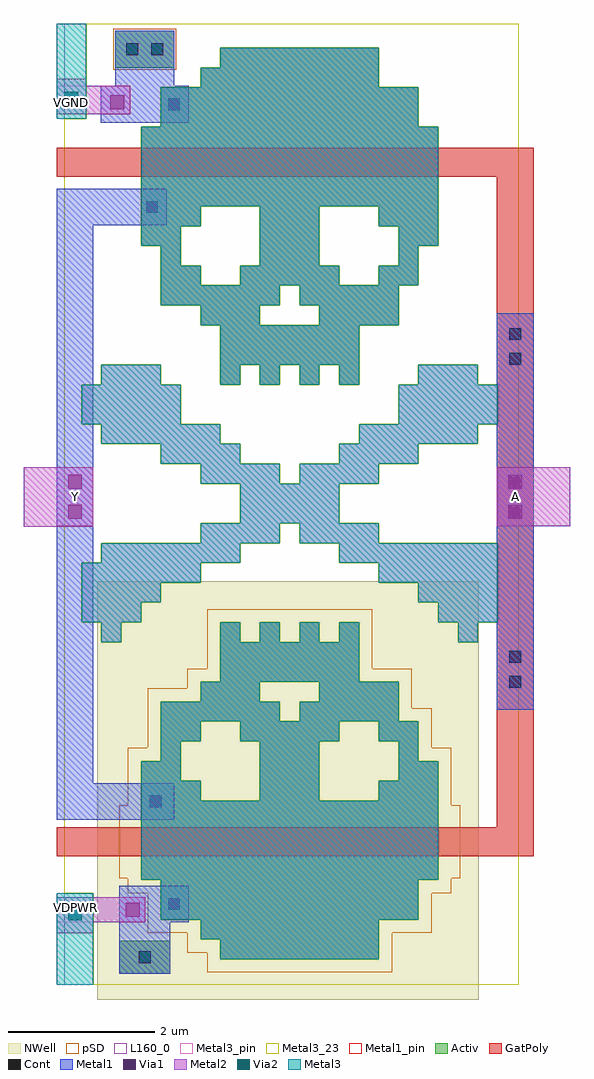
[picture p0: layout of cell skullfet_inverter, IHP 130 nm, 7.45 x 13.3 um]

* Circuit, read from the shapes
.subckt skullfet_inverter A VDPWR VGND Y
XM1 VGND A Y VGND sg13_lv_nmos w=4.05u l=0.4u
XM2 Y A VDPWR VDPWR sg13_lv_pmos w=4.05u l=0.4u
.ends

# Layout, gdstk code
import gdstk
lib = gdstk.Library(unit=1e-6, precision=1e-09)
def R(c, l, rs):  # rectangles x0, y0, x1, y1
    for r in rs: c.add(gdstk.rectangle(r[:2], r[2:], *l))
def A(c, l, x, y, w, h, nx, ny, dx, dy):  # array of equal rectangles
    R(c, l, [(x+i*dx, y+j*dy, x+i*dx+w, y+j*dy+h) for i in range(nx) for j in range(ny)])
Activ = (1, 0)
GatPoly = (5, 0)
Cont = (6, 0)
Metal1 = (8, 0)
Metal1_pin = (8, 2)
Metal2 = (10, 0)
pSD = (14, 0)
Via1 = (19, 0)
Via2 = (29, 0)
Metal3 = (30, 0)
Metal3_pin = (30, 2)
Metal3_23 = (30, 23)
NWell = (31, 0)
L160_0 = (160, 0)

skullfet_inverter = lib.new_cell('skullfet_inverter')
A(skullfet_inverter, Activ, 4.73, 5.47, 0.27, 0.27, 4, 2, 0.54, 3.51)
R(skullfet_inverter, Activ, [(3.35,0.95,4.05,1.4), (4.73,1.15,6.89,1.42), (4.46,1.42,6.89,1.69), (3.92,1.69,7.43,2.23), (3.65,2.23,7.7,3.31), (3.65,3.31,4.46,3.58), (5.27,3.31,6.08,4.12), (6.89,3.31,7.7,3.58), (3.65,3.58,4.19,3.85), (7.16,3.58,7.7,3.85), (3.92,3.85,4.19,4.12), (7.16,3.85,7.43,4.12), (3.92,4.12,4.46,4.39), (5,4.12,6.35,4.39), (6.89,4.12,7.43,4.39), (3.92,4.39,5.54,4.66), (5.81,4.39,7.16,4.66), (4.46,4.66,5.27,4.93), (6.08,4.66,7.16,4.93), (4.73,4.93,6.62,5.47), (4.73,9.25,6.62,9.79), (4.46,9.79,5.27,10.06), (6.08,9.79,7.16,10.06), (3.92,10.06,5.54,10.33), (5.81,10.06,7.16,10.33), (3.92,10.33,4.46,10.6), (5,10.33,6.35,10.6), (6.89,10.33,7.43,10.6), (3.92,10.6,4.19,10.87), (5.27,10.6,6.08,11.41), (7.16,10.6,7.43,10.87), (3.65,10.87,4.19,11.14), (7.16,10.87,7.7,11.14), (3.65,11.14,4.46,11.41), (6.89,11.14,7.7,11.41), (3.65,11.41,7.7,12.49), (3.92,12.49,7.43,13.03), (4.46,13.03,6.89,13.3), (3.3,13.3,4.1,13.8), (4.73,13.3,6.89,13.57)])
R(skullfet_inverter, GatPoly, [(2.5,2.55,9,2.95), (8.5,2.95,9,11.81), (2.5,11.81,9,12.21)])
R(skullfet_inverter, Cont, [(3.62,1.095,3.78,1.255), (4.02,1.82,4.18,1.98), (3.77,3.22,3.93,3.38), (8.67,4.85,8.83,5.01), (8.67,5.19,8.83,5.35), (8.67,9.25,8.83,9.41), (8.67,9.59,8.83,9.75), (3.72,11.32,3.88,11.48), (4.02,12.72,4.18,12.88), (3.45,13.47,3.61,13.63), (3.79,13.47,3.95,13.63)])
R(skullfet_inverter, Metal1, [(3.35,0.95,4.05,1.65), (3.35,1.65,4.3,2.15), (2.5,3.05,4.1,3.55), (2.5,3.55,3,11.15), (8.5,4.55,9,9.95), (2.5,11.15,4,11.65), (3.1,12.55,4.3,13.05), (3.3,13.05,4.1,13.8)])
R(skullfet_inverter, Metal1_pin, [(2.5,7.05,3,7.85), (8.5,7.05,9,7.85)])
A(skullfet_inverter, Metal2, 4.73, 5.47, 0.27, 0.27, 4, 2, 0.54, 3.51)
R(skullfet_inverter, Metal2, [(4.73,1.15,6.89,1.42), (4.46,1.42,6.89,1.69), (2.5,1.5,3,1.65), (2.5,1.65,3.71,1.99), (3.92,1.69,7.43,2.23), (3.65,2.23,7.7,3.31), (3.65,3.31,4.46,3.58), (5.27,3.31,6.08,4.12), (6.89,3.31,7.7,3.58), (3.65,3.58,4.19,3.85), (7.16,3.58,7.7,3.85), (3.92,3.85,4.19,4.12), (7.16,3.85,7.43,4.12), (3.92,4.12,4.46,4.39), (5,4.12,6.35,4.39), (6.89,4.12,7.43,4.39), (3.92,4.39,5.54,4.66), (5.81,4.39,7.16,4.66), (4.46,4.66,5.27,4.93), (6.08,4.66,7.16,4.93), (4.73,4.93,6.62,5.47), (3.11,5.47,3.38,5.74), (7.97,5.47,8.24,5.74), (2.84,5.74,3.65,6.01), (7.7,5.74,8.51,6.01), (2.84,6.01,3.92,6.28), (7.43,6.01,8.51,6.28), (2.84,6.28,4.46,6.55), (6.89,6.28,8.51,6.55), (3.11,6.55,5,6.82), (6.35,6.55,8.51,6.82), (4.46,6.82,5.54,7.09), (5.81,6.82,6.89,7.09), (2.05,7.045,3,7.85), (8.5,7.05,9.5,7.85), (5,7.09,6.35,7.63), (4.46,7.63,5.54,7.9), (5.81,7.63,6.89,7.9), (3.92,7.9,5,8.17), (6.35,7.9,7.43,8.17), (3.11,8.17,4.73,8.44), (6.62,8.17,8.24,8.44), (2.84,8.44,4.19,8.98), (7.16,8.44,8.51,8.98), (3.11,8.98,3.92,9.25), (7.43,8.98,8.24,9.25), (4.73,9.25,6.62,9.79), (4.46,9.79,5.27,10.06), (6.08,9.79,7.16,10.06), (3.92,10.06,5.54,10.33), (5.81,10.06,7.16,10.33), (3.92,10.33,4.46,10.6), (5,10.33,6.35,10.6), (6.89,10.33,7.43,10.6), (3.92,10.6,4.19,10.87), (5.27,10.6,6.08,11.41), (7.16,10.6,7.43,10.87), (3.65,10.87,4.19,11.14), (7.16,10.87,7.7,11.14), (3.65,11.14,4.46,11.41), (6.89,11.14,7.7,11.41), (3.65,11.41,7.7,12.49), (3.92,12.49,7.43,13.03), (2.5,12.66,3.5,13.05), (4.46,13.03,6.89,13.3), (2.5,13.05,2.9,13.15), (4.73,13.3,6.89,13.57)])
R(skullfet_inverter, pSD, [(4.55,0.97,7.07,1.24), (4.28,1.24,7.07,1.51), (3.74,1.51,7.61,2.05), (3.47,2.05,7.88,2.25), (3.35,2.25,8,3.25), (3.47,3.25,7.88,4.03), (3.74,4.03,7.61,4.57), (3.74,4.57,7.34,4.84), (4.28,4.84,7.34,5.11), (4.55,5.11,6.8,5.92), (3.27,13.27,4.13,13.83)])
R(skullfet_inverter, Via1, [(3.44,1.73,3.63,1.92), (2.655,7.15,2.845,7.34), (8.655,7.15,8.845,7.34), (2.655,7.56,2.845,7.75), (8.655,7.56,8.845,7.75), (3.23,12.73,3.42,12.92)])
R(skullfet_inverter, Via2, [(2.655,1.68,2.845,1.87), (2.605,12.78,2.795,12.97)])
A(skullfet_inverter, Metal3, 4.73, 5.47, 0.27, 0.27, 4, 2, 0.54, 3.51)
R(skullfet_inverter, Metal3, [(2.5,0.8,3,2.05), (4.73,1.15,6.89,1.42), (4.46,1.42,6.89,1.69), (3.92,1.69,7.43,2.23), (3.65,2.23,7.7,3.31), (3.65,3.31,4.46,3.58), (5.27,3.31,6.08,4.12), (6.89,3.31,7.7,3.58), (3.65,3.58,4.19,3.85), (7.16,3.58,7.7,3.85), (3.92,3.85,4.19,4.12), (7.16,3.85,7.43,4.12), (3.92,4.12,4.46,4.39), (5,4.12,6.35,4.39), (6.89,4.12,7.43,4.39), (3.92,4.39,5.54,4.66), (5.81,4.39,7.16,4.66), (4.46,4.66,5.27,4.93), (6.08,4.66,7.16,4.93), (4.73,4.93,6.62,5.47), (3.11,5.47,3.38,5.74), (7.97,5.47,8.24,5.74), (2.84,5.74,3.65,6.01), (7.7,5.74,8.51,6.01), (2.84,6.01,3.92,6.28), (7.43,6.01,8.51,6.28), (2.84,6.28,4.46,6.55), (6.89,6.28,8.51,6.55), (3.11,6.55,5,6.82), (6.35,6.55,8.51,6.82), (4.46,6.82,5.54,7.09), (5.81,6.82,6.89,7.09), (5,7.09,6.35,7.63), (4.46,7.63,5.54,7.9), (5.81,7.63,6.89,7.9), (3.92,7.9,5,8.17), (6.35,7.9,7.43,8.17), (3.11,8.17,4.73,8.44), (6.62,8.17,8.24,8.44), (2.84,8.44,4.19,8.98), (7.16,8.44,8.51,8.98), (3.11,8.98,3.92,9.25), (7.43,8.98,8.24,9.25), (4.73,9.25,6.62,9.79), (4.46,9.79,5.27,10.06), (6.08,9.79,7.16,10.06), (3.92,10.06,5.54,10.33), (5.81,10.06,7.16,10.33), (3.92,10.33,4.46,10.6), (5,10.33,6.35,10.6), (6.89,10.33,7.43,10.6), (3.92,10.6,4.19,10.87), (5.27,10.6,6.08,11.41), (7.16,10.6,7.43,10.87), (3.65,10.87,4.19,11.14), (7.16,10.87,7.7,11.14), (3.65,11.14,4.46,11.41), (6.89,11.14,7.7,11.41), (3.65,11.41,7.7,12.49), (3.92,12.49,7.43,13.03), (2.5,12.6,2.9,13.9), (4.46,13.03,6.89,13.3), (4.73,13.3,6.89,13.57)])
R(skullfet_inverter, Metal3_pin, [(2.5,1.65,3,2.05), (2.5,12.6,2.9,13.05)])
A(skullfet_inverter, Metal3_23, 5, 5.47, 0.27, 0.27, 3, 2, 0.54, 3.51)
R(skullfet_inverter, Metal3_23, [(3,0.8,8.8,1.15), (3,1.15,4.73,1.42), (6.89,1.15,8.8,1.69), (3,1.42,4.46,1.69), (3,1.69,3.92,2.05), (7.43,1.69,8.8,2.23), (2.6,2.05,3.92,2.23), (2.6,2.23,3.65,3.85), (7.7,2.23,8.8,3.85), (4.46,3.31,5.27,3.58), (6.08,3.31,6.89,3.58), (4.19,3.58,5.27,4.12), (6.08,3.58,7.16,4.12), (2.6,3.85,3.92,4.66), (7.43,3.85,8.8,4.39), (4.46,4.12,5,4.39), (6.35,4.12,6.89,4.39), (5.54,4.39,5.81,4.66), (7.16,4.39,8.8,4.93), (2.6,4.66,4.46,4.93), (5.27,4.66,6.08,4.93), (2.6,4.93,4.73,5.47), (6.62,4.93,8.8,5.47), (2.6,5.47,3.11,5.74), (3.38,5.47,4.73,5.74), (6.62,5.47,7.97,5.74), (8.24,5.47,8.8,5.74), (2.6,5.74,2.84,6.55), (3.65,5.74,7.7,6.01), (8.51,5.74,8.8,6.82), (3.92,6.01,7.43,6.28), (4.46,6.28,6.89,6.55), (2.6,6.55,3.11,6.82), (5,6.55,6.35,6.82), (2.6,6.82,4.46,7.09), (5.54,6.82,5.81,7.09), (6.89,6.82,8.8,7.09), (2.6,7.09,5,7.63), (6.35,7.09,8.8,7.63), (2.6,7.63,4.46,7.9), (5.54,7.63,5.81,7.9), (6.89,7.63,8.8,7.9), (2.6,7.9,3.92,8.17), (5,7.9,6.35,8.17), (7.43,7.9,8.8,8.17), (2.6,8.17,3.11,8.44), (4.73,8.17,6.62,8.44), (8.24,8.17,8.8,8.44), (2.6,8.44,2.84,8.98), (4.19,8.44,7.16,8.98), (8.51,8.44,8.8,8.98), (2.6,8.98,3.11,9.25), (3.92,8.98,4.73,9.25), (6.62,8.98,7.43,9.25), (8.24,8.98,8.8,9.25), (2.6,9.25,4.73,9.79), (6.62,9.25,8.8,9.79), (2.6,9.79,4.46,10.06), (5.27,9.79,6.08,10.06), (7.16,9.79,8.8,10.33), (2.6,10.06,3.92,10.87), (5.54,10.06,5.81,10.33), (4.46,10.33,5,10.6), (6.35,10.33,6.89,10.6), (7.43,10.33,8.8,10.87), (4.19,10.6,5.27,11.14), (6.08,10.6,7.16,11.14), (2.6,10.87,3.65,12.49), (7.7,10.87,8.8,12.49), (4.46,11.14,5.27,11.41), (6.08,11.14,6.89,11.41), (2.6,12.49,3.92,12.6), (7.43,12.49,8.8,13.03), (2.9,12.6,3.92,13.03), (2.9,13.03,4.46,13.3), (6.89,13.03,8.8,13.57), (2.9,13.3,4.73,13.57), (2.9,13.57,8.8,13.9)])
R(skullfet_inverter, NWell, [(3.05,0.6,8.25,6.3)])
R(skullfet_inverter, L160_0, [(2.6,0.8,8.8,13.9)])
skullfet_inverter.add(gdstk.Label('Y', (2.75,7.45), layer=8, texttype=25))
skullfet_inverter.add(gdstk.Label('A', (8.75,7.45), layer=8, texttype=25))
skullfet_inverter.add(gdstk.Label('VGND', (2.7,12.825), layer=30, texttype=25))
skullfet_inverter.add(gdstk.Label('VDPWR', (2.75,1.85), layer=30, texttype=25))

lib.write_gds('skullfet_inverter.gds')
